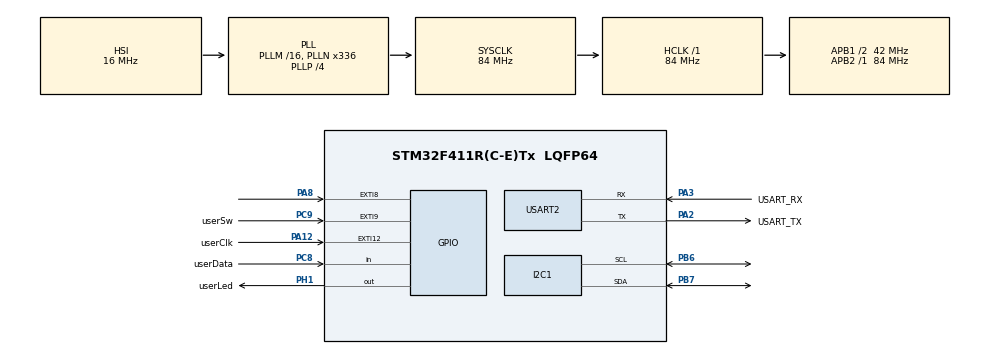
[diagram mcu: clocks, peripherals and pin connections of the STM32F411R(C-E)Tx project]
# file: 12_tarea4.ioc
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I2C1.I2C_Mode=I2C_Fast
Mcu.Family=STM32F4
Mcu.Name=STM32F411R(C-E)Tx
Mcu.Package=LQFP64
NVIC.EXTI15_10_IRQn=true\:0\:0\:false\:false\:true\:true\:true\:true
NVIC.EXTI9_5_IRQn=true\:0\:0\:false\:false\:true\:true\:true\:true
NVIC.PriorityGroup=NVIC_PRIORITYGROUP_0
NVIC.TIM2_IRQn=true\:0\:0\:false\:false\:true\:true\:true\:true
NVIC.TIM3_IRQn=true\:0\:0\:false\:false\:true\:true\:true\:true
NVIC.USART2_IRQn=true\:0\:0\:false\:false\:true\:true\:true\:true
PA12.GPIO_Label=userClk
PA12.Signal=GPXTI12
PA13.GPIO_Label=TMS
PA13.Mode=Serial_Wire
PA13.Signal=SYS_JTMS-SWDIO
PA14.GPIO_Label=TCK
PA14.Mode=Serial_Wire
PA14.Signal=SYS_JTCK-SWCLK
PA2.GPIO_Label=USART_TX
PA2.Mode=Asynchronous
PA2.Signal=USART2_TX
PA3.GPIO_Label=USART_RX
PA3.Mode=Asynchronous
PA3.Signal=USART2_RX
PA8.Signal=GPXTI8
PB3.GPIO_Label=SWO
PB3.Signal=SYS_JTDO-SWO
PB6.Mode=I2C
PB6.Signal=I2C1_SCL
PB7.Mode=I2C
PB7.Signal=I2C1_SDA
PC8.GPIO_Label=userData
PC8.Signal=GPIO_Input
PC9.GPIO_Label=userSw
PC9.Signal=GPXTI9
PH1\ -\ OSC_OUT.GPIO_Label=userLed
PH1\ -\ OSC_OUT.PinState=GPIO_PIN_SET
PH1\ -\ OSC_OUT.Signal=GPIO_Output
ProjectManager.HeapSize=0x200
ProjectManager.StackSize=0x400
ProjectManager.TargetToolchain=STM32CubeIDE
RCC.48MHZClocksFreq_Value=84000000
RCC.AHBFreq_Value=84000000
RCC.APB1CLKDivider=RCC_HCLK_DIV2
RCC.APB1Freq_Value=42000000
RCC.APB1TimFreq_Value=84000000
RCC.APB2Freq_Value=84000000
RCC.APB2TimFreq_Value=84000000
RCC.CortexFreq_Value=84000000
RCC.FLatency-AdvancedSettings=FLASH_LATENCY_2
RCC.HCLKFreq_Value=84000000
RCC.HSE_VALUE=8000000
RCC.HSI_VALUE=16000000
RCC.LSE_VALUE=32768
RCC.PLLN=336
RCC.PLLP=RCC_PLLP_DIV4
RCC.SYSCLKFreq_VALUE=84000000
RCC.SYSCLKSource=RCC_SYSCLKSOURCE_PLLCLK
RCC.VCOOutputFreq_Value=336000000
TIM2.AutoReloadPreload=TIM_AUTORELOAD_PRELOAD_ENABLE
TIM2.Period=500
TIM2.Prescaler=42000-1
TIM3.TIM_MasterOutputTrigger=TIM_TRGO_UPDATE
TIM4.Period=10000-1
TIM4.Prescaler=84-1
USART2.VirtualMode=VM_ASYNC
VP_TIM2_VS_ClockSourceINT.Mode=Internal
VP_TIM3_VS_ClockSourceINT.Mode=Internal
VP_TIM4_VS_ClockSourceINT.Mode=Internal
board=NUCLEO-F411RE

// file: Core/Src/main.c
/* USER CODE BEGIN Header */
	/**
	  ******************************************************************************
	  * @file           : main.c
	  * @brief          : Main program body
	  ******************************************************************************
	  * @attention
	  *
	  * Copyright (c) 2025 STMicroelectronics.
	  * All rights reserved.
	  *
	  * This software is licensed under terms that can be found in the LICENSE file
	  * in the root directory of this software component.
	  * If no LICENSE file comes with this software, it is provided AS-IS.
	  *
	  ******************************************************************************
	  */
/* USER CODE END Header */
#include "main.h"

/* USER CODE BEGIN Includes */
#include "commands.h"
#include "fsm.h"
#include "stdint.h"
#include "stdio.h"
#include "string.h"
#include <stdlib.h>
#include "arm_math.h"
#include "main.h"

/* USER CODE END Includes */

/* USER CODE BEGIN PM */
#define MPU6050_I2C_ADDR_7BIT 0x68
#define MPU6050_ADDR (MPU6050_I2C_ADDR_7BIT << 1)
#define LCD_ADDR_7BIT 0x22
extern I2C_HandleTypeDef hi2c1;
#define INT_ENABLE_REG     0x38
#define WHO_AM_I_REG       0x75
I2C_LCD_HandleTypeDef lcd;
/* USER CODE END PM */

I2C_HandleTypeDef hi2c1;

TIM_HandleTypeDef htim2;
TIM_HandleTypeDef htim3;
TIM_HandleTypeDef htim4;

UART_HandleTypeDef huart2;

/* USER CODE BEGIN PV */
#define FFT_SIZE_MAX 4096
const uint32_t timer_clk = 84000000UL;
 uint16_t adc_buffer[FFT_SIZE_MAX];
 uint16_t fft_size = 512;
 uint8_t nextDigit_FSM    =  1;
 uint8_t tx_buffer[TX_BUFFER_SIZE] = {0};

#define FREQ_BUFFER_SIZE 16
float freq_buffer[FREQ_BUFFER_SIZE] = {0};
uint8_t freq_index = 0;
uint8_t freq_full = 0;
char rx_buffer[100] = {0};
uint8_t rx_char = 0;
uint8_t rx_index=0;
float32_t accel_buffer_z[FFT_SIZE_MAX];
float32_t fft_output[FFT_SIZE_MAX];
float32_t fft_magnitude[FFT_SIZE_MAX / 2];

volatile uint16_t fft_buffer_index = 0;
volatile float32_t fundamental_freq = 0.0f;

// Instancia de la FFT
arm_rfft_fast_instance_f32 fft_instance;

// Handler del LCD
I2C_LCD_HandleTypeDef hlcd;
volatile e_PosiblesEvents current_event = EVENT_NONE;
volatile uint8_t data_snapshot = 0;

volatile uint8_t  flagCapture      = 0;
volatile uint32_t firstCapture     = 0;
volatile uint32_t secondCapture    = 0;
volatile uint32_t elapsedTicks     = 0;
volatile uint32_t counterOverflow  = 0;
/* USER CODE END PV */

void SystemClock_Config(void);
static void MX_GPIO_Init(void);
static void MX_USART2_UART_Init(void);
static void MX_TIM2_Init(void);
static void MX_TIM4_Init(void);
static void MX_TIM3_Init(void);
static void MX_I2C1_Init(void);
/* USER CODE BEGIN PFP */
	void System_Init(void);

/* USER CODE END PFP */

/* USER CODE BEGIN 0 */

	void I2C_Scanner(void) {
	    char uart_buf[64];
	    HAL_StatusTypeDef res;

	    HAL_UART_Transmit(&huart2, (uint8_t*)"Escaneando bus I2C...\r\n", 24, HAL_MAX_DELAY);

	    for (uint16_t i = 1; i < 128; i++) {
	        // La función HAL espera la dirección de 8 bits (dirección de 7 bits << 1)
	        res = HAL_I2C_IsDeviceReady(&hi2c1, (i << 1), 1, 10);
	        if (res == HAL_OK) {
	            sprintf(uart_buf, "Dispositivo encontrado en la direccion 0x%X\r\n", i);
	            HAL_UART_Transmit(&huart2, (uint8_t*)uart_buf, strlen(uart_buf), HAL_MAX_DELAY);
	        }
	    }
	    HAL_UART_Transmit(&huart2, (uint8_t*)"Escaneo finalizado.\r\n", 20, HAL_MAX_DELAY);
	}
	void System_Init(void) {

	    HAL_TIM_Base_Start_IT(&htim2);
	    HAL_TIM_Base_Start_IT(&htim3);

	    HAL_UART_Receive_IT(&huart2, &rx_char, 1);
	    HAL_TIM_IC_Start_IT(&htim3, TIM_CHANNEL_2);

	    init_fsm();
	    arm_rfft_fast_init_f32(&fft_instance, fft_size);
	    Cmd_HandleFFTSizeCmd("1");
	    Cmd_HandleHelpCmd();
	}

/* USER CODE END 0 */

int main(void)
{

  /* MCU Configuration--------------------------------------------------------*/

  /* Reset of all peripherals, Initializes the Flash interface and the Systick. */
  HAL_Init();

  /* Configure the system clock */
  SystemClock_Config();

  /* Initialize all configured peripherals */
  MX_GPIO_Init();
  MX_USART2_UART_Init();
  MX_TIM2_Init();
  MX_TIM4_Init();
  MX_TIM3_Init();
  MX_I2C1_Init();
  /* USER CODE BEGIN 2 */
  /* Initialize all configured peripherals */
  HAL_Delay(100);

  I2C_Scanner();

  	  MPU6050_Init();
      System_Init();

      lcd.hi2c    = &hi2c1;
      lcd.address = LCD_ADDR_7BIT << 1;
      lcd_init(&lcd);
      lcd_gotoxy(&lcd, 0, 0);
      lcd_puts(&lcd, "LCD FUNCIONA");
      lcd_gotoxy(&lcd, 0, 3);
      lcd_puts(&lcd, "STM32 + I2C OK");
      MPU6050_Read_Accel();
      current_event = EVENT_ACCEL_READY;
  /* USER CODE END 2 */

  /* Infinite loop */
	  while (1)
	  {

    /* USER CODE BEGIN 3 */

		if (current_event != EVENT_NONE){
			state_machine_action(current_event);
			current_event = EVENT_NONE;
		}
	  }
  /* USER CODE END 3 */
}

void SystemClock_Config(void)
{
  RCC_OscInitTypeDef RCC_OscInitStruct = {0};
  RCC_ClkInitTypeDef RCC_ClkInitStruct = {0};

  /** Configure the main internal regulator output voltage
  */
  __HAL_RCC_PWR_CLK_ENABLE();
  __HAL_PWR_VOLTAGESCALING_CONFIG(PWR_REGULATOR_VOLTAGE_SCALE1);

  /** Initializes the RCC Oscillators according to the specified parameters
  * in the RCC_OscInitTypeDef structure.
  */
  RCC_OscInitStruct.OscillatorType = RCC_OSCILLATORTYPE_HSI;
  RCC_OscInitStruct.HSIState = RCC_HSI_ON;
  RCC_OscInitStruct.HSICalibrationValue = RCC_HSICALIBRATION_DEFAULT;
  RCC_OscInitStruct.PLL.PLLState = RCC_PLL_ON;
  RCC_OscInitStruct.PLL.PLLSource = RCC_PLLSOURCE_HSI;
  RCC_OscInitStruct.PLL.PLLM = 16;
  RCC_OscInitStruct.PLL.PLLN = 336;
  RCC_OscInitStruct.PLL.PLLP = RCC_PLLP_DIV4;
  RCC_OscInitStruct.PLL.PLLQ = 4;
  if (HAL_RCC_OscConfig(&RCC_OscInitStruct) != HAL_OK)
  {
    Error_Handler();
  }

  /** Initializes the CPU, AHB and APB buses clocks
  */
  RCC_ClkInitStruct.ClockType = RCC_CLOCKTYPE_HCLK|RCC_CLOCKTYPE_SYSCLK
                              |RCC_CLOCKTYPE_PCLK1|RCC_CLOCKTYPE_PCLK2;
  RCC_ClkInitStruct.SYSCLKSource = RCC_SYSCLKSOURCE_PLLCLK;
  RCC_ClkInitStruct.AHBCLKDivider = RCC_SYSCLK_DIV1;
  RCC_ClkInitStruct.APB1CLKDivider = RCC_HCLK_DIV2;
  RCC_ClkInitStruct.APB2CLKDivider = RCC_HCLK_DIV1;

  if (HAL_RCC_ClockConfig(&RCC_ClkInitStruct, FLASH_LATENCY_2) != HAL_OK)
  {
    Error_Handler();
  }
}

static void MX_I2C1_Init(void)
{

  hi2c1.Instance = I2C1;
  hi2c1.Init.ClockSpeed = 400000;
  hi2c1.Init.DutyCycle = I2C_DUTYCYCLE_2;
  hi2c1.Init.OwnAddress1 = 0;
  hi2c1.Init.AddressingMode = I2C_ADDRESSINGMODE_7BIT;
  hi2c1.Init.DualAddressMode = I2C_DUALADDRESS_DISABLE;
  hi2c1.Init.OwnAddress2 = 0;
  hi2c1.Init.GeneralCallMode = I2C_GENERALCALL_DISABLE;
  hi2c1.Init.NoStretchMode = I2C_NOSTRETCH_DISABLE;
  if (HAL_I2C_Init(&hi2c1) != HAL_OK)
  {
    Error_Handler();
  }

}

static void MX_TIM2_Init(void)
{

  TIM_ClockConfigTypeDef sClockSourceConfig = {0};
  TIM_MasterConfigTypeDef sMasterConfig = {0};

  htim2.Instance = TIM2;
  htim2.Init.Prescaler = 42000-1;
  htim2.Init.CounterMode = TIM_COUNTERMODE_UP;
  htim2.Init.Period = 500;
  htim2.Init.ClockDivision = TIM_CLOCKDIVISION_DIV1;
  htim2.Init.AutoReloadPreload = TIM_AUTORELOAD_PRELOAD_ENABLE;
  if (HAL_TIM_Base_Init(&htim2) != HAL_OK)
  {
    Error_Handler();
  }
  sClockSourceConfig.ClockSource = TIM_CLOCKSOURCE_INTERNAL;
  if (HAL_TIM_ConfigClockSource(&htim2, &sClockSourceConfig) != HAL_OK)
  {
    Error_Handler();
  }
  sMasterConfig.MasterOutputTrigger = TIM_TRGO_RESET;
  sMasterConfig.MasterSlaveMode = TIM_MASTERSLAVEMODE_DISABLE;
  if (HAL_TIMEx_MasterConfigSynchronization(&htim2, &sMasterConfig) != HAL_OK)
  {
    Error_Handler();
  }

}

static void MX_TIM3_Init(void)
{

  TIM_ClockConfigTypeDef sClockSourceConfig = {0};
  TIM_MasterConfigTypeDef sMasterConfig = {0};

  htim3.Instance = TIM3;
  htim3.Init.Prescaler = 0;
  htim3.Init.CounterMode = TIM_COUNTERMODE_UP;
  htim3.Init.Period = 65535;
  htim3.Init.ClockDivision = TIM_CLOCKDIVISION_DIV1;
  htim3.Init.AutoReloadPreload = TIM_AUTORELOAD_PRELOAD_DISABLE;
  if (HAL_TIM_Base_Init(&htim3) != HAL_OK)
  {
    Error_Handler();
  }
  sClockSourceConfig.ClockSource = TIM_CLOCKSOURCE_INTERNAL;
  if (HAL_TIM_ConfigClockSource(&htim3, &sClockSourceConfig) != HAL_OK)
  {
    Error_Handler();
  }
  sMasterConfig.MasterOutputTrigger = TIM_TRGO_UPDATE;
  sMasterConfig.MasterSlaveMode = TIM_MASTERSLAVEMODE_DISABLE;
  if (HAL_TIMEx_MasterConfigSynchronization(&htim3, &sMasterConfig) != HAL_OK)
  {
    Error_Handler();
  }
  /* USER CODE BEGIN TIM3_Init 2 */
	  HAL_TIM_IC_Start_IT(&htim3, TIM_CHANNEL_2);
  /* USER CODE END TIM3_Init 2 */

}

static void MX_TIM4_Init(void)
{

  TIM_ClockConfigTypeDef sClockSourceConfig = {0};
  TIM_MasterConfigTypeDef sMasterConfig = {0};

  htim4.Instance = TIM4;
  htim4.Init.Prescaler = 84-1;
  htim4.Init.CounterMode = TIM_COUNTERMODE_UP;
  htim4.Init.Period = 10000-1;
  htim4.Init.ClockDivision = TIM_CLOCKDIVISION_DIV1;
  htim4.Init.AutoReloadPreload = TIM_AUTORELOAD_PRELOAD_DISABLE;
  if (HAL_TIM_Base_Init(&htim4) != HAL_OK)
  {
    Error_Handler();
  }
  sClockSourceConfig.ClockSource = TIM_CLOCKSOURCE_INTERNAL;
  if (HAL_TIM_ConfigClockSource(&htim4, &sClockSourceConfig) != HAL_OK)
  {
    Error_Handler();
  }
  sMasterConfig.MasterOutputTrigger = TIM_TRGO_RESET;
  sMasterConfig.MasterSlaveMode = TIM_MASTERSLAVEMODE_DISABLE;
  if (HAL_TIMEx_MasterConfigSynchronization(&htim4, &sMasterConfig) != HAL_OK)
  {
    Error_Handler();
  }

}

static void MX_USART2_UART_Init(void)
{

  huart2.Instance = USART2;
  huart2.Init.BaudRate = 115200;
  huart2.Init.WordLength = UART_WORDLENGTH_8B;
  huart2.Init.StopBits = UART_STOPBITS_1;
  huart2.Init.Parity = UART_PARITY_NONE;
  huart2.Init.Mode = UART_MODE_TX_RX;
  huart2.Init.HwFlowCtl = UART_HWCONTROL_NONE;
  huart2.Init.OverSampling = UART_OVERSAMPLING_16;
  if (HAL_UART_Init(&huart2) != HAL_OK)
  {
    Error_Handler();
  }

}

static void MX_GPIO_Init(void)
{
  GPIO_InitTypeDef GPIO_InitStruct = {0};

  /* GPIO Ports Clock Enable */
  __HAL_RCC_GPIOH_CLK_ENABLE();
  __HAL_RCC_GPIOA_CLK_ENABLE();
  __HAL_RCC_GPIOC_CLK_ENABLE();
  __HAL_RCC_GPIOB_CLK_ENABLE();

  /*Configure GPIO pin Output Level */
  HAL_GPIO_WritePin(userLed_GPIO_Port, userLed_Pin, GPIO_PIN_SET);

  /*Configure GPIO pin : userLed_Pin */
  GPIO_InitStruct.Pin = userLed_Pin;
  GPIO_InitStruct.Mode = GPIO_MODE_OUTPUT_PP;
  GPIO_InitStruct.Pull = GPIO_NOPULL;
  GPIO_InitStruct.Speed = GPIO_SPEED_FREQ_LOW;
  HAL_GPIO_Init(userLed_GPIO_Port, &GPIO_InitStruct);

  /*Configure GPIO pin : userData_Pin */
  GPIO_InitStruct.Pin = userData_Pin;
  GPIO_InitStruct.Mode = GPIO_MODE_INPUT;
  GPIO_InitStruct.Pull = GPIO_NOPULL;
  HAL_GPIO_Init(userData_GPIO_Port, &GPIO_InitStruct);

  /*Configure GPIO pin : userSw_Pin */
  GPIO_InitStruct.Pin = userSw_Pin;
  GPIO_InitStruct.Mode = GPIO_MODE_IT_RISING;
  GPIO_InitStruct.Pull = GPIO_NOPULL;
  HAL_GPIO_Init(userSw_GPIO_Port, &GPIO_InitStruct);

  /*Configure GPIO pins : PA8 userClk_Pin */
  GPIO_InitStruct.Pin = GPIO_PIN_8|userClk_Pin;
  GPIO_InitStruct.Mode = GPIO_MODE_IT_RISING;
  GPIO_InitStruct.Pull = GPIO_NOPULL;
  HAL_GPIO_Init(GPIOA, &GPIO_InitStruct);

  /* EXTI interrupt init*/
  HAL_NVIC_SetPriority(EXTI9_5_IRQn, 0, 0);
  HAL_NVIC_EnableIRQ(EXTI9_5_IRQn);

  HAL_NVIC_SetPriority(EXTI15_10_IRQn, 0, 0);
  HAL_NVIC_EnableIRQ(EXTI15_10_IRQn);

}

/* USER CODE BEGIN 4 */
void HAL_TIM_PeriodElapsedCallback(TIM_HandleTypeDef *htim){
	if(htim->Instance==TIM2){
		HAL_GPIO_TogglePin(userLed_GPIO_Port,userLed_Pin);
	}else if (htim->Instance==TIM3){

		counterOverflow++;
	}
}
void HAL_GPIO_EXTI_Callback(uint16_t GPIO_Pin)
{
	if (GPIO_Pin == GPIO_PIN_8) {
				// Si no hay otro evento en proceso, genera el evento de "datos listos"
				if (current_event == EVENT_NONE) {
					 current_event = EVENT_ACCEL_READY;
				}
}
}
void HAL_UART_RxCpltCallback(UART_HandleTypeDef *huart){
    if(huart->Instance == USART2){

        if(rx_index < sizeof(rx_buffer)-1){
            rx_buffer[rx_index++] = rx_char;
        }
        if (rx_char == '@') {
            rx_buffer[rx_index] = '\0';
            rx_index = 0;
            current_event = EVENT_USART_COMMAND;
        }
        HAL_UART_Receive_IT(huart, &rx_char, 1);
    }
}
void HAL_TIM_IC_CaptureCallback(TIM_HandleTypeDef *htim) {
	if (htim->Instance == TIM3 && htim->Channel == HAL_TIM_ACTIVE_CHANNEL_2) {
		static uint8_t ready = 0;

		if (ready == 0) {
			firstCapture = TIM3->CCR2;
			counterOverflow = 0;
			ready = 1;
		} else {
			secondCapture = TIM3->CCR2;

			if (secondCapture >= firstCapture) {
				elapsedTicks = secondCapture - firstCapture + (counterOverflow * 65536);
			} else {
				elapsedTicks = (0xFFFF - firstCapture + secondCapture + 1) + (counterOverflow * 65536);
			}

			if (elapsedTicks > 0 && current_event == EVENT_NONE) {
				current_event = EVENT_IC_CAPTURE;
			}

			ready = 0; // volver a medir siguiente ciclo
		}
	}
}

/* USER CODE END 4 */

void Error_Handler(void)
{
	  __disable_irq();
	  while (1)
	  {
	  }
}
